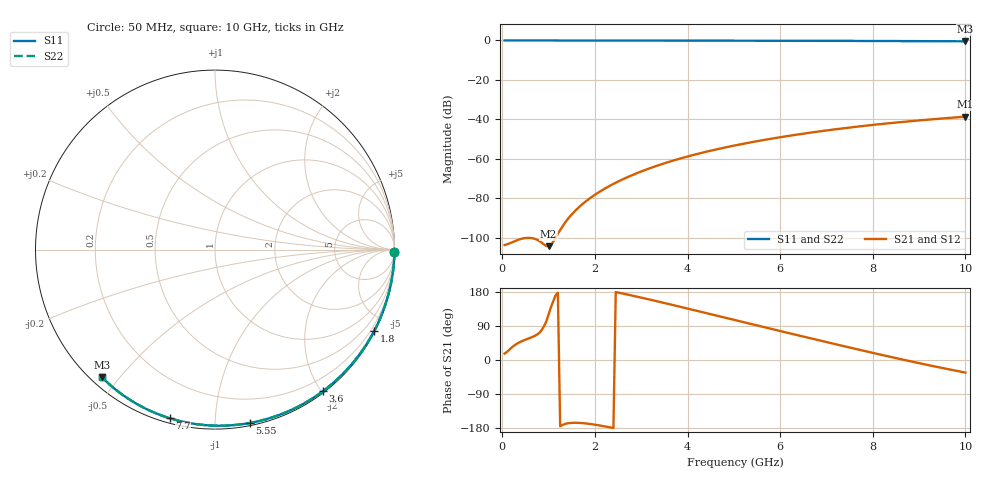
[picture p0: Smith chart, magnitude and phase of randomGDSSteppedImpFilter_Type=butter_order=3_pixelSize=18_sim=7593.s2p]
! freq	dB(S11)	phase(S11)	dB(S12)	phase(S12)
!  dB(S21)	phase(S21)	dB(S22)	phase(S22)
!S-par simulation data
#  GHz  S  DB  R 50
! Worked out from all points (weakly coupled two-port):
!   200 points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, 50 MHz to 10 GHz, reference 50 ohm
!   highest |S21| = -38.63 dB at 10 GHz (marker M1); lowest = -104.3 dB at 1 GHz (marker M2)
!   lowest |S11| = -0.4 dB at 10 GHz (marker M3), VSWR 39.14, Z = 1.54 - j22.5 ohm
!   |S11| at or under -10 dB: nowhere
!   |S22| runs from -0.4 to 0.0 dB; largest |S21 - S12| = 0
!   S11 on the Smith chart (normalised r, x): 50 MHz: open; 1.8 GHz: 0.04, -4.18; 3.6 GHz: 0.02, -2.02; 5.55 GHz: 0.02, -1.22; 7.7 GHz: 0.02, -0.77; 10 GHz: 0.03, -0.45
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0.05  -0.00 -0.8  -103.69 17.2  -103.69 17.2  -0.00 -0.8
0.5  -0.01 -7.6  -100.13 53.6  -100.13 53.6  -0.01 -7.6
1  -0.02 -15.1  -104.26 120.6  -104.26 120.6  -0.02 -15.1
1.75  -0.03 -26.2  -82.56 -166.8  -82.56 -166.8  -0.03 -26.2
1.8  -0.03 -26.9  -81.61 -167.4  -81.61 -167.4  -0.03 -26.9
1.9  -0.04 -28.4  -79.84 -168.9  -79.84 -168.9  -0.04 -28.4
2.05  -0.04 -30.6  -77.43 -171.7  -77.43 -171.7  -0.04 -30.6
2.25  -0.04 -33.5  -74.59 -176.0  -74.59 -176.0  -0.04 -33.5
2.45  -0.05 -36.4  -72.09 179.2  -72.09 179.2  -0.05 -36.4
2.65  -0.05 -39.3  -69.84 174.1  -69.84 174.1  -0.05 -39.3
3  -0.06 -44.3  -66.40 164.7  -66.40 164.7  -0.06 -44.3
3.4  -0.07 -49.9  -63.03 153.3  -63.03 153.3  -0.07 -49.9
3.6  -0.07 -52.7  -61.53 147.5  -61.53 147.5  -0.07 -52.7
4.3  -0.09 -62.2  -57.00 126.8  -57.00 126.8  -0.09 -62.2
5.05  -0.11 -72.2  -53.08 104.5  -53.08 104.5  -0.11 -72.2
5.55  -0.13 -78.7  -50.85 89.7  -50.85 89.7  -0.13 -78.7
6.1  -0.15 -85.6  -48.67 73.5  -48.67 73.5  -0.15 -85.6
6.7  -0.18 -93.0  -46.57 56.0  -46.57 56.0  -0.18 -93.0
7.7  -0.24 -105.1  -43.59 27.2  -43.59 27.2  -0.24 -105.1
8.35  -0.29 -112.7  -41.96 9.1  -41.96 9.1  -0.29 -112.7
9.15  -0.36 -121.9  -40.22 -12.2  -40.22 -12.2  -0.36 -121.9
10  -0.44 -131.5  -38.63 -33.2  -38.63 -33.2  -0.44 -131.5
